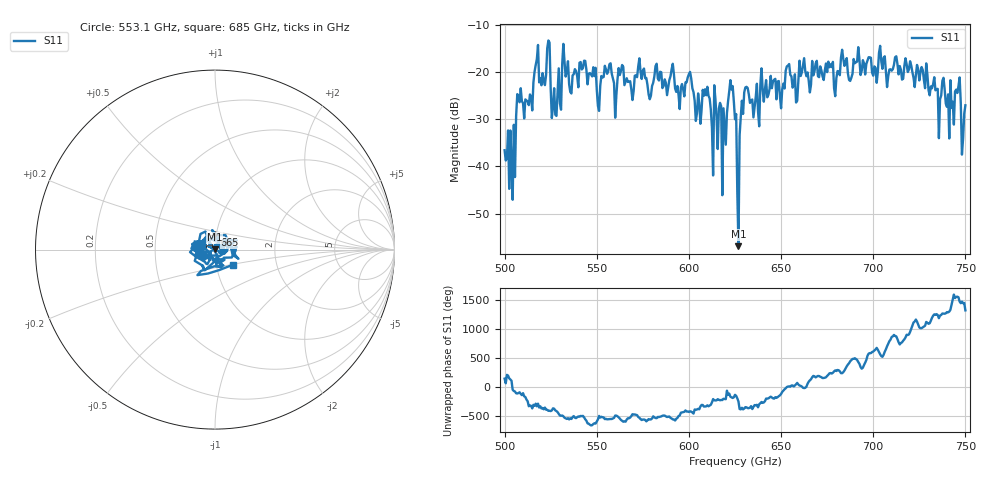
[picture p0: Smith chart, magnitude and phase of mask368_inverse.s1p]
!Created with skrf (http://scikit-rf.org).
# GHz S MA R 50.0
!freq magS11 angS11
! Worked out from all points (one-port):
!   401 points, 500 GHz to 750 GHz, reference 50 ohm
!   lowest |S11| = -56.9 dB at 626.9 GHz (marker M1), VSWR 1.00, Z = 50 + j0.136 ohm
!   |S11| at or under -10 dB: start of sweep to end of sweep
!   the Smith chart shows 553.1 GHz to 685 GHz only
!   S11 on the Smith chart (normalised r, x): 553.1 GHz: 0.84, -0.04; 665 GHz: 0.99, +0.16; 685 GHz: 1.20, -0.21
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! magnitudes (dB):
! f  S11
! 500 GHz  -36.6
! 505 GHz  -31.2
! 507.5 GHz  -25.0
! 513.8 GHz  -24.7
! 516.9 GHz  -18.5
! 523.8 GHz  -13.3
! 526.9 GHz  -23.4
! 531.2 GHz  -18.3
! 553.1 GHz  -21.1
! 562.5 GHz  -20.6
! 590.6 GHz  -19.4
! 593.8 GHz  -22.9
! 610 GHz  -23.1
! 611.9 GHz  -27.9
! 619.4 GHz  -31.7
! 623.1 GHz  -23.7
! 625 GHz  -30.0
! 625.6 GHz  -28.9
! 626.9 GHz  -56.9
! 631.2 GHz  -23.1
! 656.2 GHz  -23.3
! 665 GHz  -21.8
! 685 GHz  -17.7
! 687.5 GHz  -21.9
! 718.8 GHz  -20.0
! 742.5 GHz  -27.6
! 745.6 GHz  -24.4
! 750 GHz  -27.0
